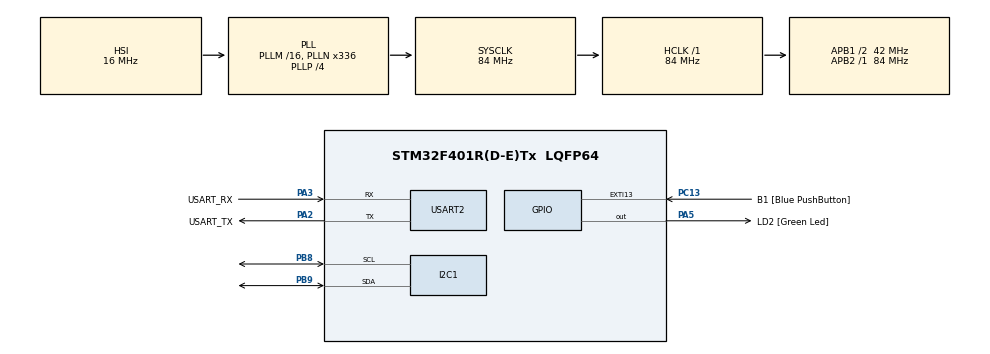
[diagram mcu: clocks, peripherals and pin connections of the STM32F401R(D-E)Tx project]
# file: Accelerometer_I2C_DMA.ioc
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Dma.I2C1_RX.0.Direction=DMA_PERIPH_TO_MEMORY
Dma.I2C1_RX.0.FIFOMode=DMA_FIFOMODE_DISABLE
Dma.I2C1_RX.0.Instance=DMA1_Stream0
Dma.I2C1_RX.0.MemDataAlignment=DMA_MDATAALIGN_BYTE
Dma.I2C1_RX.0.MemInc=DMA_MINC_ENABLE
Dma.I2C1_RX.0.Mode=DMA_NORMAL
Dma.I2C1_RX.0.PeriphDataAlignment=DMA_PDATAALIGN_BYTE
Dma.I2C1_RX.0.PeriphInc=DMA_PINC_DISABLE
Dma.I2C1_RX.0.Priority=DMA_PRIORITY_LOW
Dma.Request0=I2C1_RX
Dma.Request1=USART2_TX
Dma.USART2_TX.1.Direction=DMA_MEMORY_TO_PERIPH
Dma.USART2_TX.1.FIFOMode=DMA_FIFOMODE_DISABLE
Dma.USART2_TX.1.Instance=DMA1_Stream6
Dma.USART2_TX.1.MemDataAlignment=DMA_MDATAALIGN_BYTE
Dma.USART2_TX.1.MemInc=DMA_MINC_ENABLE
Dma.USART2_TX.1.Mode=DMA_NORMAL
Dma.USART2_TX.1.PeriphDataAlignment=DMA_PDATAALIGN_BYTE
Dma.USART2_TX.1.PeriphInc=DMA_PINC_DISABLE
Dma.USART2_TX.1.Priority=DMA_PRIORITY_LOW
Mcu.Family=STM32F4
Mcu.Name=STM32F401R(D-E)Tx
Mcu.Package=LQFP64
NVIC.DMA1_Stream0_IRQn=true\:0\:0\:false\:false\:true\:false\:true
NVIC.DMA1_Stream6_IRQn=true\:0\:0\:false\:false\:true\:false\:true
NVIC.I2C1_ER_IRQn=true\:0\:0\:false\:false\:true\:true\:true
NVIC.I2C1_EV_IRQn=true\:0\:0\:false\:false\:true\:true\:true
NVIC.PriorityGroup=NVIC_PRIORITYGROUP_0
NVIC.TIM2_IRQn=true\:0\:0\:false\:false\:true\:true\:true
NVIC.USART2_IRQn=true\:0\:0\:false\:false\:true\:true\:true
PA13.GPIO_Label=TMS
PA13.Mode=Serial_Wire
PA13.Signal=SYS_JTMS-SWDIO
PA14.GPIO_Label=TCK
PA14.Mode=Serial_Wire
PA14.Signal=SYS_JTCK-SWCLK
PA2.GPIO_Label=USART_TX
PA2.GPIO_Mode=GPIO_MODE_AF_PP
PA2.GPIO_PuPd=GPIO_NOPULL
PA2.GPIO_Speed=GPIO_SPEED_FREQ_LOW
PA2.Mode=Asynchronous
PA2.Signal=USART2_TX
PA3.GPIO_Label=USART_RX
PA3.GPIO_Mode=GPIO_MODE_AF_PP
PA3.GPIO_PuPd=GPIO_NOPULL
PA3.GPIO_Speed=GPIO_SPEED_FREQ_LOW
PA3.Mode=Asynchronous
PA3.Signal=USART2_RX
PA5.GPIO_Label=LD2 [Green Led]
PA5.GPIO_Mode=GPIO_MODE_OUTPUT_PP
PA5.GPIO_PuPd=GPIO_NOPULL
PA5.GPIO_Speed=GPIO_SPEED_FREQ_LOW
PA5.Signal=GPIO_Output
PB3.GPIO_Label=SWO
PB3.Signal=SYS_JTDO-SWO
PB8.Mode=I2C
PB8.Signal=I2C1_SCL
PB9.Mode=I2C
PB9.Signal=I2C1_SDA
PC13-ANTI_TAMP.GPIO_Label=B1 [Blue PushButton]
PC13-ANTI_TAMP.GPIO_ModeDefaultEXTI=GPIO_MODE_IT_FALLING
PC13-ANTI_TAMP.GPIO_PuPd=GPIO_NOPULL
PC13-ANTI_TAMP.Signal=GPXTI13
PC14-OSC32_IN.Mode=LSE-External-Oscillator
PC14-OSC32_IN.Signal=RCC_OSC32_IN
PC15-OSC32_OUT.Mode=LSE-External-Oscillator
PC15-OSC32_OUT.Signal=RCC_OSC32_OUT
PH0\ -\ OSC_IN.Mode=HSE-External-Clock-Source
PH0\ -\ OSC_IN.Signal=RCC_OSC_IN
PH1\ -\ OSC_OUT.Mode=HSE-External-Clock-Source
PH1\ -\ OSC_OUT.Signal=RCC_OSC_OUT
ProjectManager.HeapSize=0x200
ProjectManager.StackSize=0x400
ProjectManager.TargetToolchain=STM32CubeIDE
RCC.48MHZClocksFreq_Value=48000000
RCC.AHBFreq_Value=84000000
RCC.APB1CLKDivider=RCC_HCLK_DIV2
RCC.APB1Freq_Value=42000000
RCC.APB1TimFreq_Value=84000000
RCC.APB2Freq_Value=84000000
RCC.APB2TimFreq_Value=84000000
RCC.CortexFreq_Value=84000000
RCC.HCLKFreq_Value=84000000
RCC.HSE_VALUE=8000000
RCC.HSI_VALUE=16000000
RCC.PLLN=336
RCC.PLLP=RCC_PLLP_DIV4
RCC.PLLQ=7
RCC.SYSCLKFreq_VALUE=84000000
RCC.SYSCLKSource=RCC_SYSCLKSOURCE_PLLCLK
RCC.VCOOutputFreq_Value=336000000
TIM2.Period=10000 - 1
TIM2.Prescaler=8400 - 1
USART2.VirtualMode=VM_ASYNC
VP_TIM2_VS_ClockSourceINT.Mode=Internal
board=NUCLEO-F401RE

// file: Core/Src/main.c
/* USER CODE BEGIN Header */
/**
  ******************************************************************************
  * @file           : main.c
  * @brief          : Main program body
  ******************************************************************************
  * @attention
  *
  * <h2><center>&copy; Copyright (c) 2021 STMicroelectronics.
  * All rights reserved.</center></h2>
  *
  * This software component is licensed by ST under BSD 3-Clause license,
  * the "License"; You may not use this file except in compliance with the
  * License. You may obtain a copy of the License at:
  *                        opensource.org/licenses/BSD-3-Clause
  *
  ******************************************************************************
  */
/* USER CODE END Header */
#include "main.h"

I2C_HandleTypeDef hi2c1;
DMA_HandleTypeDef hdma_i2c1_rx;

TIM_HandleTypeDef htim2;

UART_HandleTypeDef huart2;
DMA_HandleTypeDef hdma_usart2_tx;

/* USER CODE BEGIN PV */
uint8_t LIS2DE_ADDR = 0b01010000;
uint8_t LIS2DE12_ADDR = 0b00110000;
uint8_t ACC_ADDR = 0;

/*
 * AAAABCCC
 * AAAA: Data Rate Selection
 * B: Low Power Enable
 * C: XYZ Axis Enable
 */
uint8_t CTRL_REG1[] = {0x20, 0b00010111}; //1Hz, no low power, all three axis enabled
uint8_t CTRL_REG2[] = {0x21, 0b00000000};
uint8_t CTRL_REG4[]  ={0x23, 0b00000000};

uint8_t OUT_X_AUTOINCREMENT = 0x29 + 128;
uint8_t OUT_X_ADDR = 0x29;
uint8_t OUT_Y_ADDR = 0x2B;
uint8_t OUT_Z_ADDR = 0x2D;

uint8_t OUT_ADDR[3] = {0x29, 0x2B, 0x2D};

int8_t acc[5];
/* USER CODE END PV */

void SystemClock_Config(void);
static void MX_GPIO_Init(void);
static void MX_USART2_UART_Init(void);
static void MX_I2C1_Init(void);
static void MX_DMA_Init(void);
static void MX_TIM2_Init(void);

/* USER CODE BEGIN 0 */
void HAL_TIM_PeriodElapsedCallback(TIM_HandleTypeDef *htim)
{
	if (htim == &htim2){
		HAL_I2C_Master_Transmit(&hi2c1, ACC_ADDR, &OUT_X_AUTOINCREMENT, 1, 50);
		HAL_I2C_Master_Receive_DMA(&hi2c1, ACC_ADDR + 1, acc, 5);
	}

}

void HAL_I2C_MasterRxCpltCallback(I2C_HandleTypeDef *hi2c){
	float acc_g_x = acc[0] / 64.0;
	float acc_g_y = acc[2] / 64.0;
	float acc_g_z = acc[4] / 64.0;
	uint8_t buffer[100];
	uint8_t buflen = snprintf(buffer, sizeof(buffer), "1c\r\n\r\nX: %+.2f g\r\nY: %+.2f g\r\nZ: %+.2f g\r\n\r\n", acc_g_x, acc_g_y, acc_g_z);
	HAL_UART_Transmit_DMA(&huart2, buffer, buflen);
}
/* USER CODE END 0 */

int main(void)
{

  /* MCU Configuration--------------------------------------------------------*/

  /* Reset of all peripherals, Initializes the Flash interface and the Systick. */
  HAL_Init();

  /* Configure the system clock */
  SystemClock_Config();

  /* USER CODE BEGIN SysInit */
  MX_DMA_Init();
  /* USER CODE END SysInit */

  /* Initialize all configured peripherals */
  MX_GPIO_Init();
  MX_USART2_UART_Init();
  MX_I2C1_Init();
  MX_DMA_Init();
  MX_TIM2_Init();
  /* USER CODE BEGIN 2 */
  char buffer[50];
  int buflen = 0;

  if(HAL_I2C_Master_Transmit(&hi2c1, LIS2DE_ADDR + 0, CTRL_REG1, sizeof(CTRL_REG1), 50) == HAL_OK){
	  buflen = snprintf(buffer, sizeof(buffer), "LISDE found!\r\n");
	  ACC_ADDR = LIS2DE_ADDR;
  }
  else{
	  if(HAL_I2C_Master_Transmit(&hi2c1, LIS2DE12_ADDR + 0, CTRL_REG1, sizeof(CTRL_REG1), 50) == HAL_OK){
		  buflen = snprintf(buffer, sizeof(buffer), "LISDE12 found!\r\n");
		  ACC_ADDR = LIS2DE12_ADDR;
	  }
	  else{
		  buflen = snprintf(buffer, sizeof(buffer), "Error: accelerometer NOT found!\r\n");
	  }
  }

  HAL_UART_Transmit(&huart2, buffer, buflen, 100);

  HAL_I2C_Master_Transmit(&hi2c1, ACC_ADDR + 0, CTRL_REG2, sizeof(CTRL_REG2), 50);
  HAL_I2C_Master_Transmit(&hi2c1, ACC_ADDR + 0, CTRL_REG4, sizeof(CTRL_REG4), 50);

  HAL_TIM_Base_Start_IT(&htim2);
  /* USER CODE END 2 */

  /* Infinite loop */
  while (1)
  {

  }
}

void SystemClock_Config(void)
{
  RCC_OscInitTypeDef RCC_OscInitStruct = {0};
  RCC_ClkInitTypeDef RCC_ClkInitStruct = {0};

  /** Configure the main internal regulator output voltage
  */
  __HAL_RCC_PWR_CLK_ENABLE();
  __HAL_PWR_VOLTAGESCALING_CONFIG(PWR_REGULATOR_VOLTAGE_SCALE2);
  /** Initializes the RCC Oscillators according to the specified parameters
  * in the RCC_OscInitTypeDef structure.
  */
  RCC_OscInitStruct.OscillatorType = RCC_OSCILLATORTYPE_HSI;
  RCC_OscInitStruct.HSIState = RCC_HSI_ON;
  RCC_OscInitStruct.HSICalibrationValue = RCC_HSICALIBRATION_DEFAULT;
  RCC_OscInitStruct.PLL.PLLState = RCC_PLL_ON;
  RCC_OscInitStruct.PLL.PLLSource = RCC_PLLSOURCE_HSI;
  RCC_OscInitStruct.PLL.PLLM = 16;
  RCC_OscInitStruct.PLL.PLLN = 336;
  RCC_OscInitStruct.PLL.PLLP = RCC_PLLP_DIV4;
  RCC_OscInitStruct.PLL.PLLQ = 7;
  if (HAL_RCC_OscConfig(&RCC_OscInitStruct) != HAL_OK)
  {
    Error_Handler();
  }
  /** Initializes the CPU, AHB and APB buses clocks
  */
  RCC_ClkInitStruct.ClockType = RCC_CLOCKTYPE_HCLK|RCC_CLOCKTYPE_SYSCLK
                              |RCC_CLOCKTYPE_PCLK1|RCC_CLOCKTYPE_PCLK2;
  RCC_ClkInitStruct.SYSCLKSource = RCC_SYSCLKSOURCE_PLLCLK;
  RCC_ClkInitStruct.AHBCLKDivider = RCC_SYSCLK_DIV1;
  RCC_ClkInitStruct.APB1CLKDivider = RCC_HCLK_DIV2;
  RCC_ClkInitStruct.APB2CLKDivider = RCC_HCLK_DIV1;

  if (HAL_RCC_ClockConfig(&RCC_ClkInitStruct, FLASH_LATENCY_2) != HAL_OK)
  {
    Error_Handler();
  }
}

static void MX_I2C1_Init(void)
{

  hi2c1.Instance = I2C1;
  hi2c1.Init.ClockSpeed = 100000;
  hi2c1.Init.DutyCycle = I2C_DUTYCYCLE_2;
  hi2c1.Init.OwnAddress1 = 0;
  hi2c1.Init.AddressingMode = I2C_ADDRESSINGMODE_7BIT;
  hi2c1.Init.DualAddressMode = I2C_DUALADDRESS_DISABLE;
  hi2c1.Init.OwnAddress2 = 0;
  hi2c1.Init.GeneralCallMode = I2C_GENERALCALL_DISABLE;
  hi2c1.Init.NoStretchMode = I2C_NOSTRETCH_DISABLE;
  if (HAL_I2C_Init(&hi2c1) != HAL_OK)
  {
    Error_Handler();
  }

}

static void MX_TIM2_Init(void)
{

  TIM_ClockConfigTypeDef sClockSourceConfig = {0};
  TIM_MasterConfigTypeDef sMasterConfig = {0};

  htim2.Instance = TIM2;
  htim2.Init.Prescaler = 8400 - 1;
  htim2.Init.CounterMode = TIM_COUNTERMODE_UP;
  htim2.Init.Period = 10000 - 1;
  htim2.Init.ClockDivision = TIM_CLOCKDIVISION_DIV1;
  htim2.Init.AutoReloadPreload = TIM_AUTORELOAD_PRELOAD_DISABLE;
  if (HAL_TIM_Base_Init(&htim2) != HAL_OK)
  {
    Error_Handler();
  }
  sClockSourceConfig.ClockSource = TIM_CLOCKSOURCE_INTERNAL;
  if (HAL_TIM_ConfigClockSource(&htim2, &sClockSourceConfig) != HAL_OK)
  {
    Error_Handler();
  }
  sMasterConfig.MasterOutputTrigger = TIM_TRGO_RESET;
  sMasterConfig.MasterSlaveMode = TIM_MASTERSLAVEMODE_DISABLE;
  if (HAL_TIMEx_MasterConfigSynchronization(&htim2, &sMasterConfig) != HAL_OK)
  {
    Error_Handler();
  }

}

static void MX_USART2_UART_Init(void)
{

  huart2.Instance = USART2;
  huart2.Init.BaudRate = 115200;
  huart2.Init.WordLength = UART_WORDLENGTH_8B;
  huart2.Init.StopBits = UART_STOPBITS_1;
  huart2.Init.Parity = UART_PARITY_NONE;
  huart2.Init.Mode = UART_MODE_TX_RX;
  huart2.Init.HwFlowCtl = UART_HWCONTROL_NONE;
  huart2.Init.OverSampling = UART_OVERSAMPLING_16;
  if (HAL_UART_Init(&huart2) != HAL_OK)
  {
    Error_Handler();
  }

}

static void MX_DMA_Init(void)
{

  /* DMA controller clock enable */
  __HAL_RCC_DMA1_CLK_ENABLE();

  /* DMA interrupt init */
  /* DMA1_Stream0_IRQn interrupt configuration */
  HAL_NVIC_SetPriority(DMA1_Stream0_IRQn, 0, 0);
  HAL_NVIC_EnableIRQ(DMA1_Stream0_IRQn);
  /* DMA1_Stream6_IRQn interrupt configuration */
  HAL_NVIC_SetPriority(DMA1_Stream6_IRQn, 0, 0);
  HAL_NVIC_EnableIRQ(DMA1_Stream6_IRQn);

}

static void MX_GPIO_Init(void)
{
  GPIO_InitTypeDef GPIO_InitStruct = {0};

  /* GPIO Ports Clock Enable */
  __HAL_RCC_GPIOC_CLK_ENABLE();
  __HAL_RCC_GPIOH_CLK_ENABLE();
  __HAL_RCC_GPIOA_CLK_ENABLE();
  __HAL_RCC_GPIOB_CLK_ENABLE();

  /*Configure GPIO pin Output Level */
  HAL_GPIO_WritePin(LD2_GPIO_Port, LD2_Pin, GPIO_PIN_RESET);

  /*Configure GPIO pin : B1_Pin */
  GPIO_InitStruct.Pin = B1_Pin;
  GPIO_InitStruct.Mode = GPIO_MODE_IT_FALLING;
  GPIO_InitStruct.Pull = GPIO_NOPULL;
  HAL_GPIO_Init(B1_GPIO_Port, &GPIO_InitStruct);

  /*Configure GPIO pin : LD2_Pin */
  GPIO_InitStruct.Pin = LD2_Pin;
  GPIO_InitStruct.Mode = GPIO_MODE_OUTPUT_PP;
  GPIO_InitStruct.Pull = GPIO_NOPULL;
  GPIO_InitStruct.Speed = GPIO_SPEED_FREQ_LOW;
  HAL_GPIO_Init(LD2_GPIO_Port, &GPIO_InitStruct);

}

void Error_Handler(void)
{
  __disable_irq();
  while (1)
  {
  }
}

/************************ (C) COPYRIGHT STMicroelectronics *****END OF FILE****/
